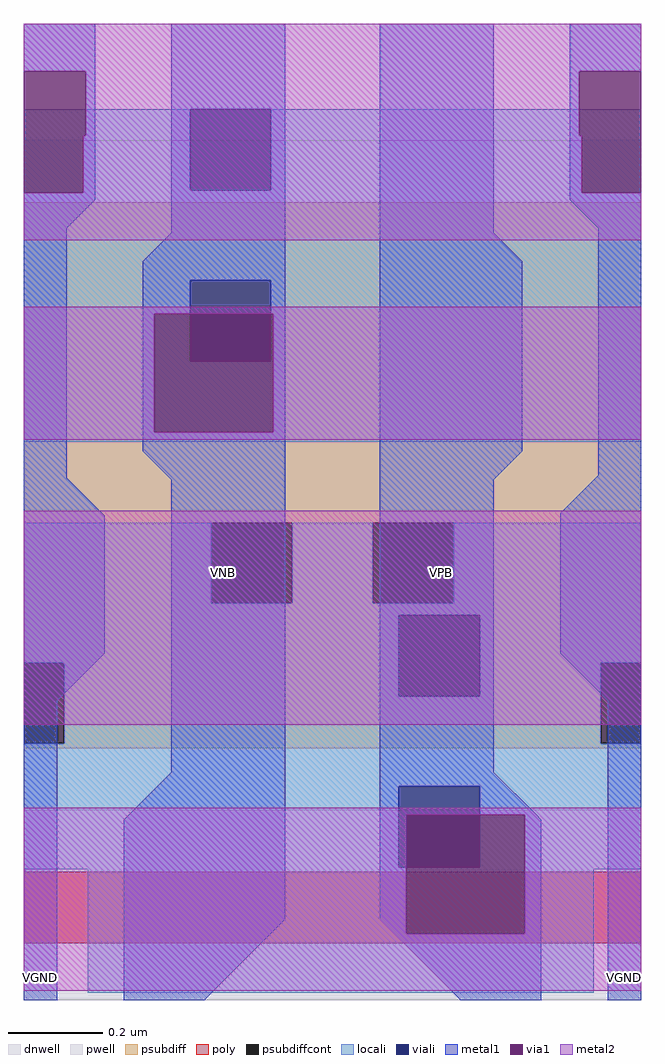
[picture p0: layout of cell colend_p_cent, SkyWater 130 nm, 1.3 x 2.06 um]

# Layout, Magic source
magic
tech sky130A
magscale 1 2
<< dnwell >>
rect 0 0 260 411
<< pwell >>
rect 0 80 260 362
<< psubdiff >>
rect 0 201 260 336
rect 0 167 79 201
rect 113 167 147 201
rect 181 167 260 201
rect 0 142 260 167
rect 17 108 243 142
rect 0 106 260 108
<< psubdiffcont >>
rect 79 167 113 201
rect 147 167 181 201
rect 0 108 17 142
rect 243 108 260 142
<< poly >>
rect 0 24 260 54
<< locali >>
rect 0 341 70 375
rect 104 341 260 375
rect 0 303 260 341
rect 0 269 70 303
rect 104 269 260 303
rect 0 235 260 269
rect 0 167 79 201
rect 113 167 147 201
rect 181 167 260 201
rect 0 162 260 167
rect 0 142 158 162
rect 17 128 158 142
rect 192 142 260 162
rect 192 128 243 142
rect 17 108 243 128
rect 0 90 260 108
rect 0 56 158 90
rect 192 56 260 90
rect 0 55 260 56
rect 27 3 240 55
<< viali >>
rect 70 341 104 375
rect 70 269 104 303
rect 158 128 192 162
rect 158 56 192 90
<< metal1 >>
rect 0 391 30 411
rect 26 364 30 391
rect 25 340 30 364
rect 0 337 30 340
rect 0 204 18 337
tri 18 325 30 337 nw
rect 62 375 110 411
rect 62 341 70 375
rect 104 341 110 375
tri 50 311 62 323 se
rect 62 311 110 341
rect 50 303 110 311
rect 50 289 70 303
rect 104 289 110 303
rect 50 239 55 289
rect 105 239 110 289
rect 50 231 110 239
tri 18 204 34 220 sw
tri 50 219 62 231 ne
rect 0 146 34 204
rect 0 0 14 146
tri 14 126 34 146 nw
tri 42 76 62 96 se
rect 62 76 110 231
rect 42 34 110 76
rect 42 0 76 34
tri 76 0 110 34 nw
rect 150 311 198 411
rect 230 391 260 411
rect 230 364 234 391
rect 230 340 235 364
rect 230 337 260 340
tri 230 325 242 337 ne
tri 198 311 210 323 sw
rect 150 231 210 311
rect 150 162 198 231
tri 198 219 210 231 nw
rect 150 128 158 162
rect 192 128 198 162
rect 150 90 198 128
tri 226 205 242 221 se
rect 242 205 260 337
rect 226 146 260 205
tri 226 126 246 146 ne
rect 150 56 158 90
rect 192 78 198 90
tri 198 78 216 96 sw
rect 211 76 216 78
tri 216 76 218 78 sw
rect 150 34 161 56
tri 150 28 156 34 ne
rect 156 28 161 34
rect 211 28 218 76
tri 156 0 184 28 ne
rect 184 0 218 28
rect 246 0 260 146
<< via1 >>
rect 0 364 26 391
rect 0 340 25 364
rect 55 269 70 289
rect 70 269 104 289
rect 104 269 105 289
rect 55 239 105 269
rect 234 364 260 391
rect 235 340 260 364
rect 161 56 192 78
rect 192 56 211 78
rect 161 28 211 56
<< metal2 >>
rect 0 391 260 411
rect 26 364 234 391
rect 25 340 235 364
rect 0 320 260 340
rect 0 289 260 292
rect 0 239 55 289
rect 105 239 260 289
rect 0 236 260 239
rect 0 116 260 206
rect 0 78 260 81
rect 0 28 161 78
rect 211 28 260 78
rect 0 4 260 28
<< labels >>
rlabel metal1 s 0 0 14 19 4 VGND
rlabel metal1 s 154 162 198 198 4 VPB
rlabel metal1 s 62 162 106 198 4 VNB
rlabel metal1 s 246 0 260 19 4 VGND
<< end >>
